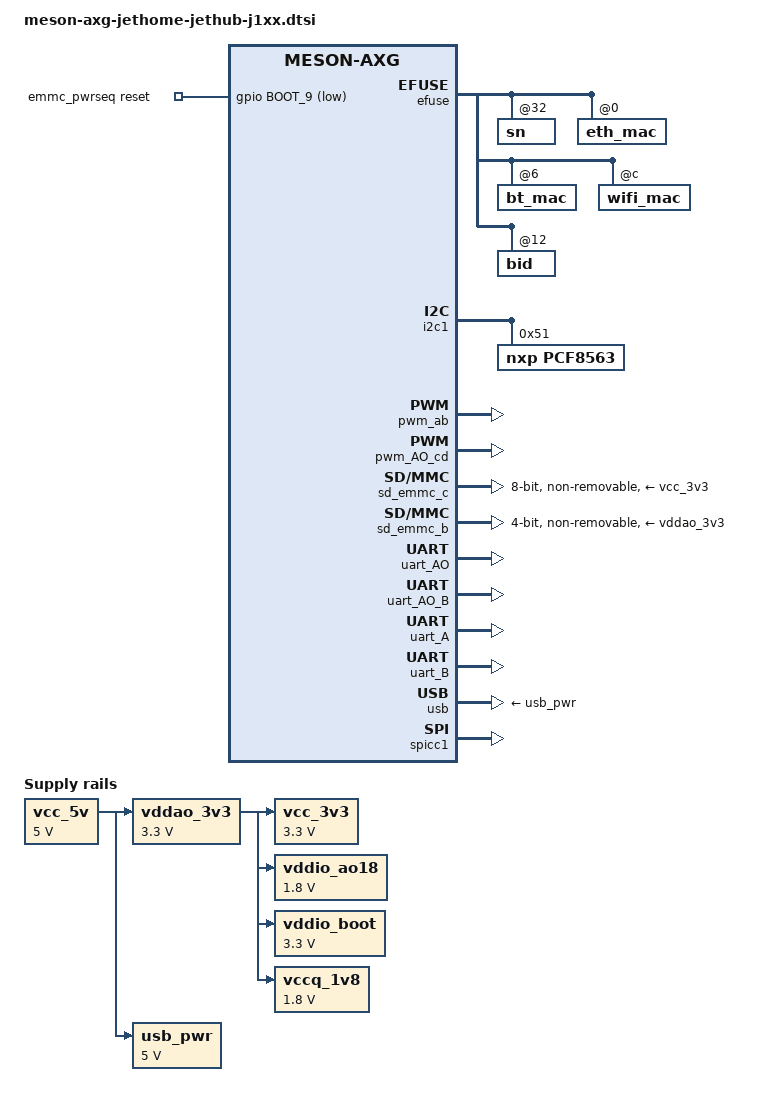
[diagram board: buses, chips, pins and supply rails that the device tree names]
// SPDX-License-Identifier: (GPL-2.0+ OR MIT)
/*
 * Copyright (c) 2022 Vyacheslav Bocharov <adeep@lexina.in>
 * Copyright (c) 2022 JetHome
 * Author: Vyacheslav Bocharov <adeep@lexina.in>
 * Author: Aleksandr Kazantsev <ak@tvip.ru>
 * Author: Alexey Shevelkin <ash@tvip.ru>
 */

/dts-v1/;

#include "meson-axg.dtsi"
#include <dt-bindings/input/input.h>
#include <dt-bindings/thermal/thermal.h>

/ {
	aliases {
		serial0 = &uart_AO;   /* Console */
		serial1 = &uart_A; /* UART Bluetooth */
		serial3 = &uart_AO_B; /* ZigBee */
		serial6 = &uart_B; /* Thread */
		ethernet0 = &ethmac;
		mmc0 = &sd_emmc_c;  /* eMMC - ffe07000 */
		mmc1 = &sd_emmc_b;  /* SDIO WiFi - ffe05000 */
	};

	chosen {
		stdout-path = "serial0:115200n8";
	};

	reserved-memory {
		linux,cma {
			size = <0x0 0x400000>;
		};
	};

	emmc_pwrseq: emmc-pwrseq {
		compatible = "mmc-pwrseq-emmc";
		reset-gpios = <&gpio BOOT_9 GPIO_ACTIVE_LOW>;
	};

	

	vcc_5v: regulator-vcc_5v {
		compatible = "regulator-fixed";
		regulator-name = "VCC5V";
		regulator-min-microvolt = <5000000>;
		regulator-max-microvolt = <5000000>;
		regulator-always-on;
	};

	vddao_3v3: regulator-vddao_3v3 {
		compatible = "regulator-fixed";
		regulator-name = "VDDAO_3V3";
		regulator-min-microvolt = <3300000>;
		regulator-max-microvolt = <3300000>;
		vin-supply = <&vcc_5v>;
		regulator-always-on;
	};

	vcc_3v3: regulator-vcc_3v3 {
		compatible = "regulator-fixed";
		regulator-name = "VCC_3V3";
		regulator-min-microvolt = <3300000>;
		regulator-max-microvolt = <3300000>;
		vin-supply = <&vddao_3v3>;
		regulator-always-on;
	};

	vddio_ao18: regulator-vddio_ao18 {
		compatible = "regulator-fixed";
		regulator-name = "VDDIO_AO18";
		regulator-min-microvolt = <1800000>;
		regulator-max-microvolt = <1800000>;
		vin-supply = <&vddao_3v3>;
		regulator-always-on;
	};

	vddio_boot: regulator-vddio_boot {
		compatible = "regulator-fixed";
		regulator-name = "VDDIO_BOOT";
		regulator-min-microvolt = <3300000>;
		regulator-max-microvolt = <3300000>;
		vin-supply = <&vddao_3v3>;
		regulator-always-on;
	};

	vccq_1v8: regulator-vccq_1v8 {
		compatible = "regulator-fixed";
		regulator-name = "VCCQ_1V8";
		regulator-min-microvolt = <1800000>;
		regulator-max-microvolt = <1800000>;
		vin-supply = <&vddao_3v3>;
		regulator-always-on;
	};

	usb_pwr: regulator-usb_pwr {
		compatible = "regulator-fixed";
		regulator-name = "USB_PWR";
		regulator-min-microvolt = <5000000>;
		regulator-max-microvolt = <5000000>;
		vin-supply = <&vcc_5v>;
		regulator-always-on;
	};

	/*
	sdio_pwrseq: sdio-pwrseq {
		compatible = "mmc-pwrseq-simple";
		//reset-gpios = <&gpio GPIOX_7 GPIO_ACTIVE_LOW>;
		clocks = <&wifi32k>;
		clock-names = "ext_clock";
	};
	
	wifi32k: wifi32k {
		compatible = "pwm-clock";
		#clock-cells = <0>;
		clock-frequency = <32768>;
		//pwms = <&pwm_AO_cd 0 30541 0>;
		pwms = <&pwm_ab 0 30541 0>;
		duty-cycle = <15270>;
		times = <10>;
	};
	*/

	thermal-zones {
		cpu_thermal: cpu-thermal {
			polling-delay-passive = <250>;
			polling-delay = <1000>;
			thermal-sensors = <&scpi_sensors 0>;
			trips {
				cpu_passive: cpu-passive {
					temperature = <70000>; /* millicelsius */
					hysteresis = <2000>; /* millicelsius */
					type = "passive";
				};

				cpu_hot: cpu-hot {
					temperature = <80000>; /* millicelsius */
					hysteresis = <2000>; /* millicelsius */
					type = "hot";
				};

				cpu_critical: cpu-critical {
					temperature = <100000>; /* millicelsius */
					hysteresis = <2000>; /* millicelsius */
					type = "critical";
				};
			};

			cpu_cooling_maps: cooling-maps {
				map0 {
					trip = <&cpu_passive>;
					cooling-device = <&cpu0 THERMAL_NO_LIMIT THERMAL_NO_LIMIT>,
							<&cpu1 THERMAL_NO_LIMIT THERMAL_NO_LIMIT>,
							<&cpu2 THERMAL_NO_LIMIT THERMAL_NO_LIMIT>,
							<&cpu3 THERMAL_NO_LIMIT THERMAL_NO_LIMIT>;
				};

				map1 {
					trip = <&cpu_hot>;
					cooling-device = <&cpu0 THERMAL_NO_LIMIT THERMAL_NO_LIMIT>,
							<&cpu1 THERMAL_NO_LIMIT THERMAL_NO_LIMIT>,
							<&cpu2 THERMAL_NO_LIMIT THERMAL_NO_LIMIT>,
							<&cpu3 THERMAL_NO_LIMIT THERMAL_NO_LIMIT>;
				};
			};
		};
	};

	/*
	onewire {
		compatible = "w1-gpio";
		gpios = <&gpio GPIOA_14 GPIO_ACTIVE_HIGH>;
		#gpio-cells = <1>;
	};
	*/
};

&efuse {
	sn: sn@32 {
		reg = <0x32 0x20>;
	};

	eth_mac: eth_mac@0 {
		reg = <0x0 0x6>;
	};

	bt_mac: bt_mac@6 {
		reg = <0x6 0x6>;
	};

	wifi_mac: wifi_mac@c {
		reg = <0xc 0x6>;
	};

	bid: bid@12 {
		reg = <0x12 0x20>;
	};
};

&ethmac {
	status = "disabled";
	pinctrl-0 = <&eth_rmii_x_pins>;
	pinctrl-names = "default";
	phy-handle = <&eth_phy0>;
	phy-mode = "rmii";

	mdio {
		compatible = "snps,dwmac-mdio";
		#address-cells = <1>;
		#size-cells = <0>;

		/* ICPlus IP101A/G Ethernet PHY (vendor_id=0x0243, model_id=0x0c54) */
		eth_phy0: ethernet-phy@0 {
			/* compatible = "ethernet-phy-id0243.0c54";*/
			max-speed = <100>;
			reg = <0>;

			reset-assert-us = <10000>;
			reset-deassert-us = <10000>;
			reset-gpios = <&gpio GPIOZ_5 GPIO_ACTIVE_LOW>;
		};
	};
};

/* Internal I2C bus (on CPU module) */
&i2c1 {
	status = "okay";
	pinctrl-0 = <&i2c1_z_pins>;
	pinctrl-names = "default";

	/* RTC */
	pcf8563: pcf8563@51 {
		compatible = "nxp,pcf8563";
		reg = <0x51>;
		status = "okay";
	};
};

/* Peripheral I2C bus (on motherboard) */
&i2c_AO {
	status = "disabled";
	pinctrl-0 = <&i2c_ao_sck_10_pins>, <&i2c_ao_sda_11_pins>;
	pinctrl-names = "default";
};

&pwm_ab {
	status = "okay";
	pinctrl-0 = <&pwm_a_x20_pins>;
	pinctrl-names = "default";
};

&pwm_AO_cd{
	status = "okay";
	pinctrl-0 = <&pwm_ao_c_ao8_pins>;
	pinctrl-names = "default";
};

/* emmc storage */
/* mmc0: new HS200 MMC card at address 0001 */
&sd_emmc_c {
	status = "okay";
	pinctrl-0 = <&emmc_pins>, <&emmc_ds_pins>;
	pinctrl-1 = <&emmc_clk_gate_pins>;
	pinctrl-names = "default", "clk-gate";

	bus-width = <8>;
	cap-mmc-highspeed;
	max-frequency = <100000000>;
	non-removable;
	disable-wp;
	mmc-ddr-1_8v;
	mmc-hs200-1_8v;
	no-sdio;  /* eMMC does not support SDIO */

	mmc-pwrseq = <&emmc_pwrseq>;

	vmmc-supply = <&vcc_3v3>;
	vqmmc-supply = <&vccq_1v8>;
};

/* wifi module */
/* mmc1: new ultra high speed SDR50 SDIO card at address 0000 */
&sd_emmc_b {
	status = "okay";
	#address-cells = <1>;
	#size-cells = <0>;

	pinctrl-0 = <&sdio_pins>;
	pinctrl-1 = <&sdio_clk_gate_pins>;
	pinctrl-names = "default", "clk-gate";

	bus-width = <4>;
	cap-sd-highspeed;
	
	sd-uhs-sdr12;
	sd-uhs-sdr25;
	sd-uhs-sdr50;
	//sd-uhs-sdr104;
	
	max-frequency = <50000000>;
	disable-wp;

	/*
	mmc-pwrseq = <&sdio_pwrseq>;
	*/

	vmmc-supply = <&vddao_3v3>;
	vqmmc-supply = <&vccq_1v8>;

	non-removable;
	init_core_phase = <3>;
	init_tx_phase = <0>;
	no-mmc;
	no-sd;

	keep-power-in-suspend;
	mmc_debug_flag;
};


/* UART Console */
&uart_AO {
	status = "okay";
	pinctrl-0 = <&uart_ao_a_pins>;
	pinctrl-names = "default";
};

/* Zigbee */
&uart_AO_B {
	status = "okay";
	pinctrl-0 = <&uart_ao_b_z_pins>;
	pinctrl-names = "default";
};

/* UART Bluetooth */
&uart_A {
	status = "okay";
	pinctrl-0 = <&uart_a_pins>, <&uart_a_cts_rts_pins>;
	pinctrl-names = "default";
	uart-has-rtscts;
};

/* UART Thread */
&uart_B {
	status = "okay";
	pinctrl-0 = <&uart_b_x_pins>;
	pinctrl-names = "default";
};

&usb {
	status = "okay";
	phy-supply = <&usb_pwr>;
};

&spicc1 {
	status = "okay";
	pinctrl-0 = <&spi1_x_pins>, <&spi1_ss0_x_pins>;
	pinctrl-names = "default";
};

&gpio {
	gpio-line-names =
		"", "", "", "", "", // 0 - 4
		"", "", "", "", "", // 5 - 9
		"", "", "", "", "", // 10 - 14
		"", "", "", "", "", // 15 - 19
		"", "", "", "", "", // 20 - 24
		"", "", "", "", "", // 25 - 29
		"", "", "", "", "", // 30 - 34
		"", "", "", "", "", // 35 - 39
		"", "", "", "", "", // 40 - 44
		"", "", "", "", "", // 45 - 49
		"", "", "", "", "", // 50 - 54
		"", "", "", "", "", // 55 - 59
		"", "", "", "", "", // 60 - 64
		"", "", "", "", "", // 65 - 69
		"", "", "", "", "", // 70 - 74
		"", "", "", "", "", // 75 - 79
		"", "", "", "", "", // 80 - 84
		"", ""; // 85-86
};

&cpu0 {
	#cooling-cells = <2>;
};

&cpu1 {
	#cooling-cells = <2>;
};

&cpu2 {
	#cooling-cells = <2>;
};

&cpu3 {
	#cooling-cells = <2>;
};
